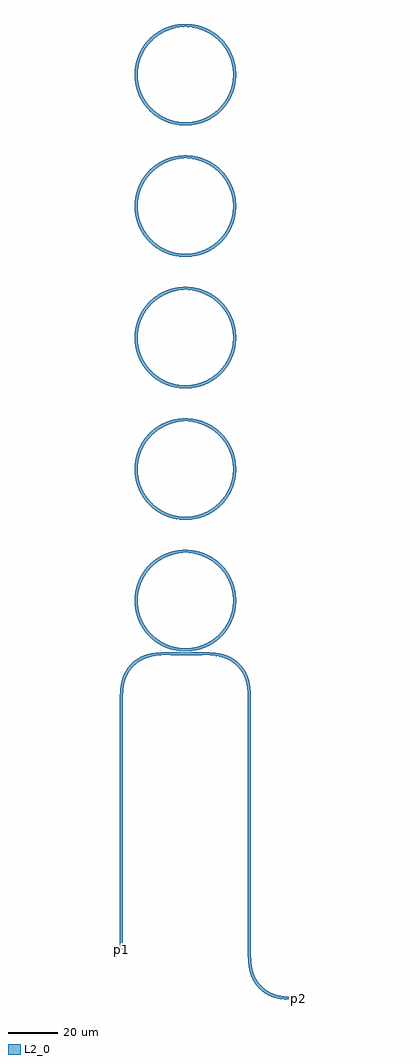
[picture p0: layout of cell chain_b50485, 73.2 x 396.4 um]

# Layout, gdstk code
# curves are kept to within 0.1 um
from math import pi, radians
import gdstk
lib = gdstk.Library(unit=1e-6, precision=1e-09)
def R(c, l, rs):  # rectangles x0, y0, x1, y1
    for r in rs: c.add(gdstk.rectangle(r[:2], r[2:], *l))
def P(c, l, *ps):  # polygons
    for p in ps: c.add(gdstk.Polygon(p, *l))
L2_0 = (2, 0)

ring_gdsfactorypcompone_ = lib.new_cell('ring_gdsfactorypcompone_76c7f959')
P(ring_gdsfactorypcompone_, L2_0, [(-0.108,-20.6),(-4.072,-20.194),(-6.092,-19.679),(-7.95,-19.004),(-9.798,-18.121),(-11.609,-17.018),(-14.693,-14.439),(-17.218,-11.31),(-19.073,-7.784),(-20.222,-3.931),(-20.509,-1.939),(-20.6,0.108),(-20.194,4.072),(-19.679,6.092),(-19.004,7.95),(-18.121,9.798),(-17.018,11.609),(-14.439,14.693),(-11.31,17.218),(-7.784,19.073),(-3.931,20.222),(-1.939,20.509),(0.108,20.6),(4.072,20.194),(7.85,19.046),(9.735,18.155),(11.49,17.098),(14.592,14.541),(15.987,12.992),(17.218,11.31),(19.046,7.85),(19.752,5.851),(20.222,3.931),(20.6,0),(19.4,0),(19.221,2.633),(18.658,5.315),(17.737,7.86),(16.524,10.165),(15.35,11.864),(13.932,13.501),(12.288,15.013),(10.538,16.289),(8.535,17.422),(6.444,18.299),(4.133,18.955),(1.859,19.311),(-0.406,19.396),(-2.633,19.221),(-4.89,18.774),(-7.142,18.038),(-9.287,17.033),(-11.376,15.715),(-13.256,14.165),(-14.818,12.522),(-16.289,10.538),(-17.422,8.535),(-18.387,6.188),(-19.011,3.868),(-19.338,1.556),(-19.382,-0.846),(-19.123,-3.269),(-18.582,-5.575),(-17.737,-7.86),(-16.664,-9.934),(-15.35,-11.864),(-13.79,-13.646),(-11.675,-15.494),(-9.287,-17.033),(-6.699,-18.207),(-3.868,-19.011),(-1.151,-19.366),(1.59,-19.335),(4.463,-18.88),(7.142,-18.038),(9.524,-16.902),(11.783,-15.412),(13.79,-13.646),(15.494,-11.675),(17.177,-9.018),(18.387,-6.188),(19.156,-3.068),(19.4,0),(20.6,0),(20.6,-0.108),(20.194,-4.072),(19.679,-6.092),(19.004,-7.95),(18.121,-9.798),(17.018,-11.609),(14.439,-14.693),(11.31,-17.218),(7.784,-19.073),(3.931,-20.222),(1.939,-20.509)])

straight_gdsfactorypcom_ = lib.new_cell('straight_gdsfactorypcom_4b85a3ac')
R(straight_gdsfactorypcom_, L2_0, [(0,-0.6,12,0.6)])

c_straight_gdsfactorypcom_ = lib.new_cell('straight_gdsfactorypcom_1298df09')
R(c_straight_gdsfactorypcom_, L2_0, [(0,-0.6,100,0.6)])

bend_euler_gdsfactorypc_ = lib.new_cell('bend_euler_gdsfactorypc_f0601f7d')
P(bend_euler_gdsfactorypc_, L2_0, [(0,-0.6),(0,0.6),(5.886,0.821),(8.202,1.208),(10.126,1.77),(12.829,3.108),(15.079,4.921),(16.892,7.171),(18.23,9.874),(18.792,11.798),(19.179,14.114),(19.4,20),(20.6,20),(20.426,14.502),(19.7,10.515),(19.051,8.688),(18.238,7.072),(17.19,5.511),(16.013,4.159),(14.612,2.906),(13.003,1.806),(11.312,0.949),(9.618,0.339),(7.729,-0.116),(5.498,-0.426)])

io_coupler_1_l12_w1_2_r2 = lib.new_cell('io_Coupler_1_L12_w1.2_r20_fe1898')
io_coupler_1_l12_w1_2_r2.add(gdstk.Reference(straight_gdsfactorypcom_, (0,0)))
io_coupler_1_l12_w1_2_r2.add(gdstk.Reference(c_straight_gdsfactorypcom_, (-20,-20), rotation=3*pi/2))
io_coupler_1_l12_w1_2_r2.add(gdstk.Reference(c_straight_gdsfactorypcom_, (32,-20), rotation=3*pi/2))
io_coupler_1_l12_w1_2_r2.add(gdstk.Reference(bend_euler_gdsfactorypc_, (32,-20), rotation=pi/2))
io_coupler_1_l12_w1_2_r2.add(gdstk.Reference(bend_euler_gdsfactorypc_, (0,0), rotation=pi))
io_coupler_1_l12_w1_2_r2.add(gdstk.Reference(bend_euler_gdsfactorypc_, (32,-120), rotation=3*pi/2))

chain_b50485 = lib.new_cell('chain_b50485')
P(chain_b50485, L2_0, [(-32,-122.2),(-32.54,-121.66),(-32.45,-121.66),(-32,-122.116),(-32,-121.66),(-32.54,-121.66),(-32.6,-121.6),(-31.4,-121.6)],
  [(40,-142.2),(40,-141.6),(40.06,-141.6),(40.06,-142.05),(40.516,-141.6),(40,-141.6),(40,-141),(40.6,-141.6)])
chain_b50485.add(gdstk.Reference(ring_gdsfactorypcompone_, (-6,20)))
chain_b50485.add(gdstk.Reference(ring_gdsfactorypcompone_, (-6,73.4)))
chain_b50485.add(gdstk.Reference(ring_gdsfactorypcompone_, (-6,126.8)))
chain_b50485.add(gdstk.Reference(ring_gdsfactorypcompone_, (-6,180.2)))
chain_b50485.add(gdstk.Reference(ring_gdsfactorypcompone_, (-6,233.6)))
chain_b50485.add(gdstk.Reference(io_coupler_1_l12_w1_2_r2, (-12,-1.6)))
chain_b50485.add(gdstk.Label('p1', (-32,-121.6), layer=2, texttype=0))
chain_b50485.add(gdstk.Label('p2', (40,-141.6), layer=2, texttype=0))

lib.write_gds('chain_b50485.gds')
